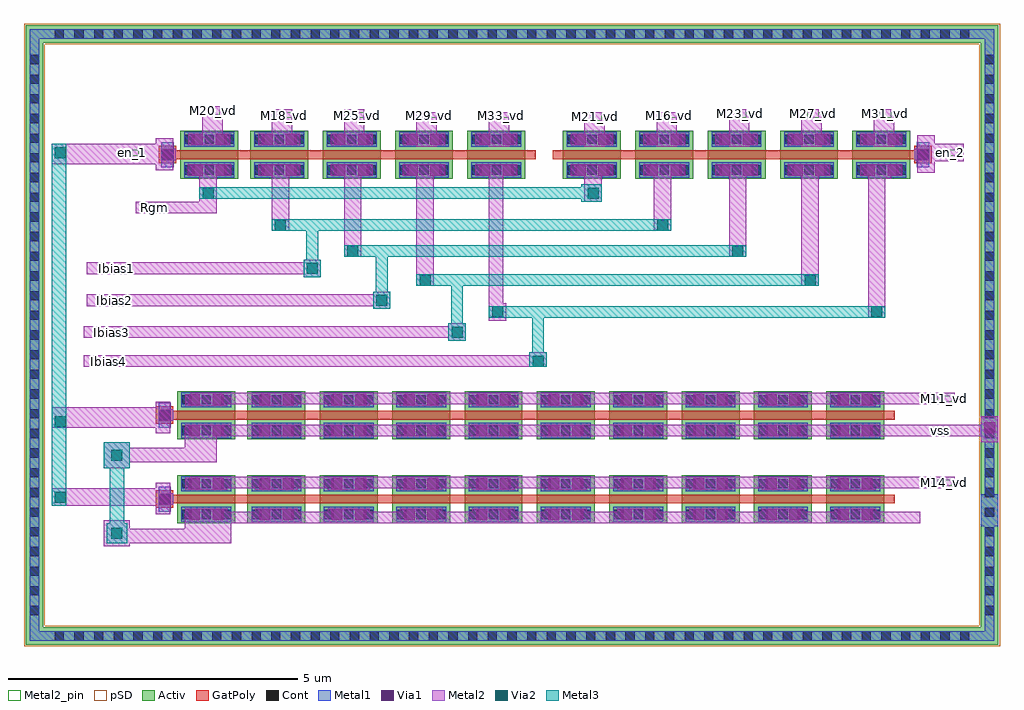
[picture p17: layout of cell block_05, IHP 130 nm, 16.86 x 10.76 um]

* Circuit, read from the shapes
.subckt block_05 Ibias1 Ibias2 Ibias3 Ibias4 M11_vd M14_vd M16_vd M18_vd M20_vd M21_vd M23_vd M25_vd M27_vd M29_vd M31_vd M33_vd Rgm en_1 en_2 vss
XM1 M14_vd en_1 vss vss sg13_lv_nmos w=1u l=0.15u m=10
XM2 M11_vd en_1 vss vss sg13_lv_nmos w=1u l=0.15u m=10
XM3 M20_vd en_1 Rgm vss sg13_lv_nmos w=1u l=0.15u
XM4 M18_vd en_1 Ibias1 vss sg13_lv_nmos w=1u l=0.15u
XM5 M25_vd en_1 Ibias2 vss sg13_lv_nmos w=1u l=0.15u
XM6 M29_vd en_1 Ibias3 vss sg13_lv_nmos w=1u l=0.15u
XM7 M33_vd en_1 Ibias4 vss sg13_lv_nmos w=1u l=0.15u
XM8 M21_vd en_2 Rgm vss sg13_lv_nmos w=1u l=0.15u
XM9 M16_vd en_2 Ibias1 vss sg13_lv_nmos w=1u l=0.15u
XM10 M23_vd en_2 Ibias2 vss sg13_lv_nmos w=1u l=0.15u
XM11 M27_vd en_2 Ibias3 vss sg13_lv_nmos w=1u l=0.15u
XM12 M31_vd en_2 Ibias4 vss sg13_lv_nmos w=1u l=0.15u
.ends

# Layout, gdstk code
from math import pi, radians
import gdstk
lib = gdstk.Library(unit=1e-6, precision=1e-09)
def R(c, l, rs):  # rectangles x0, y0, x1, y1
    for r in rs: c.add(gdstk.rectangle(r[:2], r[2:], *l))
def A(c, l, x, y, w, h, nx, ny, dx, dy):  # array of equal rectangles
    R(c, l, [(x+i*dx, y+j*dy, x+i*dx+w, y+j*dy+h) for i in range(nx) for j in range(ny)])
Activ = (1, 0)
GatPoly = (5, 0)
Cont = (6, 0)
Metal1 = (8, 0)
Metal2 = (10, 0)
Metal2_pin = (10, 2)
pSD = (14, 0)
Via1 = (19, 0)
Via2 = (29, 0)
Metal3 = (30, 0)

sg13_lv_nmos_pfnygq = lib.new_cell('sg13_lv_nmos_PFNYGQ')
R(sg13_lv_nmos_pfnygq, Activ, [(-0.415,-0.5,0.415,0.5)])
R(sg13_lv_nmos_pfnygq, GatPoly, [(-0.075,-0.68,0.075,0.68)])
A(sg13_lv_nmos_pfnygq, Cont, -0.345, -0.42, 0.16, 0.16, 1, 3, 0, 0.34)
A(sg13_lv_nmos_pfnygq, Cont, 0.185, -0.42, 0.16, 0.16, 1, 3, 0, 0.34)
R(sg13_lv_nmos_pfnygq, Metal1, [(-0.395,-0.43,-0.135,0.43), (0.135,-0.43,0.395,0.43)])
R(sg13_lv_nmos_pfnygq, Metal2, [(-0.365,-0.365,-0.165,0.365), (0.165,-0.365,0.365,0.365)])
R(sg13_lv_nmos_pfnygq, Via1, [(-0.36,-0.3,-0.17,-0.11), (0.17,-0.3,0.36,-0.11), (-0.36,0.11,-0.17,0.3), (0.17,0.11,0.36,0.3)])
sg13_lv_nmos_pfnygq.add(gdstk.Label('D', (-0.265,0), layer=8, texttype=25))
sg13_lv_nmos_pfnygq.add(gdstk.Label('S', (0.265,0), layer=8, texttype=25))

sg13_lv_nmos_nfnygq = lib.new_cell('sg13_lv_nmos_NFNYGQ')
R(sg13_lv_nmos_nfnygq, Activ, [(-0.415,-0.595,0.415,0.405)])
R(sg13_lv_nmos_nfnygq, GatPoly, [(-0.075,-0.775,0.075,0.475), (-0.15,0.475,0.15,0.775)])
A(sg13_lv_nmos_nfnygq, Cont, -0.345, -0.515, 0.16, 0.16, 1, 3, 0, 0.34)
A(sg13_lv_nmos_nfnygq, Cont, 0.185, -0.515, 0.16, 0.16, 1, 3, 0, 0.34)
R(sg13_lv_nmos_nfnygq, Cont, [(-0.08,0.545,0.08,0.705)])
R(sg13_lv_nmos_nfnygq, Metal1, [(-0.395,-0.525,-0.135,0.335), (0.135,-0.525,0.395,0.335), (-0.215,0.52,0.215,0.73)])
R(sg13_lv_nmos_nfnygq, Metal2, [(-0.365,-0.46,-0.165,0.27), (0.165,-0.46,0.365,0.27), (-0.1,0.48,0.1,0.77)])
R(sg13_lv_nmos_nfnygq, Via1, [(-0.36,-0.395,-0.17,-0.205), (0.17,-0.395,0.36,-0.205), (-0.36,0.015,-0.17,0.205), (0.17,0.015,0.36,0.205), (-0.095,0.53,0.095,0.72)])
sg13_lv_nmos_nfnygq.add(gdstk.Label('D', (-0.265,-0.095), layer=8, texttype=25))
sg13_lv_nmos_nfnygq.add(gdstk.Label('S', (0.265,-0.095), layer=8, texttype=25))
sg13_lv_nmos_nfnygq.add(gdstk.Label('G', (0,0.625), layer=8, texttype=25))

block_05 = lib.new_cell('block_05')
R(block_05, Activ, [(-4.8,-6.2,12,-5.9), (-4.8,-5.9,-4.5,4.2), (11.7,-5.9,12,4.2), (-4.8,4.2,12,4.5)])
A(block_05, Cont, -4.3, -6.13, 0.16, 0.16, 47, 2, 0.34, 10.4)
A(block_05, Cont, -4.73, -5.69, 0.16, 0.16, 1, 29, 0, 0.34)
A(block_05, Cont, 11.77, -5.69, 0.16, 0.16, 1, 29, 0, 0.34)
R(block_05, Metal1, [(-4.73,-6.13,11.93,-5.97), (-4.73,-5.97,-4.57,4.27), (11.77,-5.97,11.93,-4.15), (11.7,-4.15,12,-3.6), (11.77,-3.6,11.93,-2.7), (11.7,-2.7,12,-2.25), (11.77,-2.25,11.93,4.27), (-4.73,4.27,11.93,4.43)])
A(block_05, Metal2, 4.85, 2.4, 0.35, 0.6, 5, 1, 1.25, 0)
A(block_05, Metal2, 7.45, 3, 0.2, 0.05, 3, 1, 1.25, 0)
R(block_05, Metal2, [(-3.45,-4.5,-3,-4.45), (-3.45,-4.45,-1.25,-4.2), (-3.45,-4.2,-3,-4.05), (-2.05,-4.2,-1.25,-4.1), (-2.05,-4.1,10.65,-3.95), (-2.55,-3.95,-2.3,-3.8), (-1.55,-3.95,10.65,-3.9), (-4.35,-3.8,-2.3,-3.5), (-2.55,-3.5,-2.3,-3.4), (-1.95,-3.5,11.25,-3.3), (-3.45,-3.15,-3,-3.05), (-3.45,-3.05,-1.5,-2.8), (-3.45,-2.8,-3,-2.7), (-2.05,-2.8,-1.5,-2.6), (11.7,-2.7,12,-2.6), (-2.05,-2.6,12,-2.45), (-2.55,-2.55,-2.3,-2.45), (-4.35,-2.45,-2.3,-2.1), (-1.9,-2.45,-1.85,-2.4), (-1.55,-2.45,12,-2.4), (11.7,-2.4,12,-2.25), (-2.55,-2.1,-2.3,-2), (-1.95,-2.05,11.25,-1.85), (-3.8,-1.4,4.2,-1.2), (3.9,-1.2,4.2,-1.15), (2.5,-0.95,2.8,-0.9), (-3.8,-0.9,2.8,-0.7), (2.5,-0.7,2.8,-0.65), (3.2,-0.6,3.5,-0.3), (9.75,-0.55,10.05,1.85), (1.2,-0.4,1.5,-0.35), (-3.75,-0.35,1.5,-0.15), (3.2,-0.3,3.45,2.1), (1.2,-0.15,1.5,-0.1), (1.95,0,2.25,2.05), (8.6,0,8.9,2.1), (0,0.15,0.3,0.2), (-3.75,0.2,0.3,0.405), (0,0.405,0.3,0.45), (0.7,0.5,1,2.05), (7.35,0.5,7.65,2.1), (-0.55,0.95,-0.25,2.05), (6.05,0.95,6.35,2.05), (-2.9,1.25,-1.5,1.45), (-1.8,1.45,-1.5,1.9), (4.85,1.45,5.15,1.95), (9.75,1.85,10.15,2.1), (-2,1.9,-1.5,2.05), (-1.4,1.9,-1.25,2.1), (4.85,1.95,5.1,2.05), (10.6,1.95,10.9,2.15), (-2.55,2,-2.25,2.1), (-2,2.05,-1.8,2.1), (-4.35,2.1,-2.25,2.45), (10.6,2.15,11.4,2.45), (1.95,2.4,2.3,3), (3.2,2.4,3.55,3), (-2.55,2.45,-2.25,2.55), (-1.75,2.45,-1.4,3.05), (-0.55,2.45,-0.2,3.05), (0.7,2.45,1.05,3.05), (10.6,2.45,10.9,2.6), (-1.65,3.05,-1.45,3.1)])
A(block_05, Metal2_pin, -0.45, 2.9, 0.25, 0.1, 4, 1, 1.25, 0)
A(block_05, Metal2_pin, 7.45, 2.9, 0.2, 0.15, 3, 1, 1.25, 0)
R(block_05, Metal2_pin, [(10.95,-3.45,11.2,-3.35), (10.85,-2.55,11.15,-2.45), (10.95,-2,11.2,-1.9), (-3.5,-1.35,-3.25,-1.25), (-3.45,-0.85,-3.2,-0.75), (-3.4,-0.3,-3.15,-0.2), (-3.35,0.25,-3.1,0.35), (-2.8,1.3,-2.35,1.4), (-3.05,2.25,-2.85,2.35), (11.05,2.25,11.3,2.35), (4.95,2.85,5.15,3), (6.2,2.9,6.45,3), (-1.65,2.95,-1.45,3.1)])
R(block_05, pSD, [(-4.83,-6.23,12.03,-5.87), (-4.83,-5.87,-4.47,4.17), (11.67,-5.87,12.03,4.17), (-4.83,4.17,12.03,4.53)])
R(block_05, Via1, [(11.755,-2.545,11.945,-2.355)])
R(block_05, Via2, [(-3.32,-4.37,-3.13,-4.18), (-4.295,-3.745,-4.105,-3.555), (-3.32,-3.02,-3.13,-2.83), (-4.295,-2.445,-4.105,-2.255), (3.955,-1.395,4.145,-1.205), (2.555,-0.895,2.745,-0.705), (3.255,-0.545,3.445,-0.355), (9.805,-0.545,9.995,-0.355), (1.255,-0.345,1.445,-0.155), (2.005,0.005,2.195,0.195), (8.655,0.005,8.845,0.195), (0.055,0.205,0.245,0.395), (0.755,0.505,0.945,0.695), (7.405,0.505,7.595,0.695), (-0.495,0.955,-0.305,1.145), (6.105,0.955,6.295,1.145), (-1.745,1.505,-1.555,1.695), (4.905,1.505,5.095,1.695), (-4.295,2.205,-4.105,2.395)])
R(block_05, Metal3, [(-3.4,-4.45,-3.05,-4.1), (-3.35,-4.1,-3.1,-3.15), (-4.35,-3.8,-4.1,2.45), (-3.45,-3.15,-3,-2.7), (3.9,-1.4,4.2,-1.15), (3.95,-1.15,4.15,-0.55), (2.5,-0.95,2.8,-0.65), (2.55,-0.65,2.75,0), (3.2,-0.55,10.05,-0.35), (1.2,-0.4,1.5,-0.1), (1.25,-0.1,1.45,0.5), (1.95,0,8.9,0.2), (0,0.15,0.3,0.45), (0.05,0.45,0.25,0.95), (0.7,0.5,7.65,0.7), (-0.55,0.95,6.35,1.15), (4.8,1.45,5.15,1.5), (-1.8,1.5,5.15,1.7), (4.8,1.7,5.15,1.75)])
block_05.add(gdstk.Reference(sg13_lv_nmos_pfnygq, (-0.47,-3.685), rotation=3*pi/2))
block_05.add(gdstk.Reference(sg13_lv_nmos_pfnygq, (-0.47,-2.235), rotation=3*pi/2))
block_05.add(gdstk.Reference(sg13_lv_nmos_nfnygq, (-1.775,-3.685), rotation=pi/2))
block_05.add(gdstk.Reference(sg13_lv_nmos_nfnygq, (-1.775,-2.235), rotation=pi/2))
block_05.add(gdstk.Reference(sg13_lv_nmos_pfnygq, (0.78,-3.685), rotation=3*pi/2))
block_05.add(gdstk.Reference(sg13_lv_nmos_pfnygq, (0.78,-2.235), rotation=3*pi/2))
block_05.add(gdstk.Reference(sg13_lv_nmos_pfnygq, (2.03,-3.685), rotation=3*pi/2))
block_05.add(gdstk.Reference(sg13_lv_nmos_pfnygq, (3.28,-3.685), rotation=3*pi/2))
block_05.add(gdstk.Reference(sg13_lv_nmos_pfnygq, (3.28,-2.235), rotation=3*pi/2))
block_05.add(gdstk.Reference(sg13_lv_nmos_pfnygq, (2.03,-2.235), rotation=3*pi/2))
block_05.add(gdstk.Reference(sg13_lv_nmos_pfnygq, (4.53,-3.685), rotation=3*pi/2))
block_05.add(gdstk.Reference(sg13_lv_nmos_pfnygq, (4.53,-2.235), rotation=3*pi/2))
block_05.add(gdstk.Reference(sg13_lv_nmos_pfnygq, (5.78,-3.685), rotation=3*pi/2))
block_05.add(gdstk.Reference(sg13_lv_nmos_pfnygq, (5.78,-2.235), rotation=3*pi/2))
block_05.add(gdstk.Reference(sg13_lv_nmos_pfnygq, (7.03,-3.685), rotation=3*pi/2))
block_05.add(gdstk.Reference(sg13_lv_nmos_pfnygq, (8.28,-3.685), rotation=3*pi/2))
block_05.add(gdstk.Reference(sg13_lv_nmos_pfnygq, (7.03,-2.235), rotation=3*pi/2))
block_05.add(gdstk.Reference(sg13_lv_nmos_pfnygq, (8.28,-2.235), rotation=3*pi/2))
block_05.add(gdstk.Reference(sg13_lv_nmos_pfnygq, (9.53,-3.685), rotation=3*pi/2))
block_05.add(gdstk.Reference(sg13_lv_nmos_pfnygq, (9.53,-2.235), rotation=3*pi/2))
block_05.add(gdstk.Reference(sg13_lv_nmos_pfnygq, (-0.42,2.265), rotation=3*pi/2))
block_05.add(gdstk.Reference(sg13_lv_nmos_nfnygq, (-1.725,2.265), rotation=pi/2))
block_05.add(gdstk.Reference(sg13_lv_nmos_pfnygq, (0.83,2.265), rotation=3*pi/2))
block_05.add(gdstk.Reference(sg13_lv_nmos_pfnygq, (3.33,2.265), rotation=3*pi/2))
block_05.add(gdstk.Reference(sg13_lv_nmos_pfnygq, (2.08,2.265), rotation=3*pi/2))
block_05.add(gdstk.Reference(sg13_lv_nmos_pfnygq, (4.98,2.265), rotation=3*pi/2))
block_05.add(gdstk.Reference(sg13_lv_nmos_pfnygq, (6.23,2.265), rotation=3*pi/2))
block_05.add(gdstk.Reference(sg13_lv_nmos_pfnygq, (7.48,2.265), rotation=3*pi/2))
block_05.add(gdstk.Reference(sg13_lv_nmos_pfnygq, (8.73,2.265), rotation=3*pi/2))
block_05.add(gdstk.Reference(sg13_lv_nmos_nfnygq, (10.075,2.265), rotation=3*pi/2))
block_05.add(gdstk.Label('M11_vd', (11.075,-1.95), layer=10, texttype=25))
block_05.add(gdstk.Label('M14_vd', (11.075,-3.4), layer=10, texttype=25))
block_05.add(gdstk.Label('Ibias1', (-3.225,0.3), layer=10, texttype=25))
block_05.add(gdstk.Label('Ibias2', (-3.275,-0.25), layer=10, texttype=25))
block_05.add(gdstk.Label('Ibias3', (-3.325,-0.8), layer=10, texttype=25))
block_05.add(gdstk.Label('Ibias4', (-3.375,-1.3), layer=10, texttype=25))
block_05.add(gdstk.Label('en_1', (-2.95,2.3), layer=10, texttype=25))
block_05.add(gdstk.Label('en_2', (11.175,2.3), layer=10, texttype=25))
block_05.add(gdstk.Label('M18_vd', (-0.325,2.95), layer=10, texttype=25))
block_05.add(gdstk.Label('M25_vd', (0.925,2.95), layer=10, texttype=25))
block_05.add(gdstk.Label('M29_vd', (2.175,2.95), layer=10, texttype=25))
block_05.add(gdstk.Label('M33_vd', (3.425,2.95), layer=10, texttype=25))
block_05.add(gdstk.Label('M16_vd', (6.325,2.95), layer=10, texttype=25))
block_05.add(gdstk.Label('M21_vd', (5.05,2.925), layer=10, texttype=25))
block_05.add(gdstk.Label('M23_vd', (7.55,2.975), layer=10, texttype=25))
block_05.add(gdstk.Label('M27_vd', (8.8,2.975), layer=10, texttype=25))
block_05.add(gdstk.Label('M31_vd', (10.05,2.975), layer=10, texttype=25))
block_05.add(gdstk.Label('M20_vd', (-1.55,3.025), layer=10, texttype=25))
block_05.add(gdstk.Label('Rgm', (-2.575,1.35), layer=10, texttype=25))
block_05.add(gdstk.Label('vss', (11,-2.5), layer=10, texttype=25))

lib.write_gds('block_05.gds')
